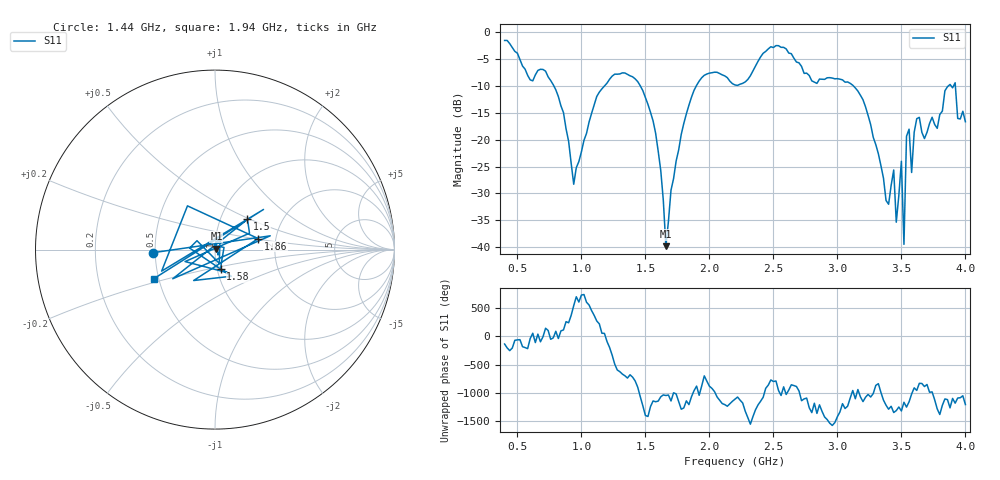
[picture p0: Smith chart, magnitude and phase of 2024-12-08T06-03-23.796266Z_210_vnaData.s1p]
!Created with skrf (http://scikit-rf.org).
# Hz S RI R 50.0
!freq ReS11 ImS11
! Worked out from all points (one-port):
!   181 points, 400 MHz to 4 GHz, reference 50 ohm
!   lowest |S11| = -39.8 dB at 1.66 GHz (marker M1), VSWR 1.02, Z = 50.8 + j0.613 ohm
!   |S11| at or under -10 dB: 784.8 MHz to 1.181 GHz (396 MHz wide, 40.3 % of centre); 1.461 GHz to 1.898 GHz (436.9 MHz wide, 26 % of centre); 3.125 GHz to 3.867 GHz (741.2 MHz wide, 21.2 % of centre) (the widest 3 of 5)
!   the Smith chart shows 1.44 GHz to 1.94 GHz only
!   S11 on the Smith chart (normalised r, x): 1.44 GHz: 0.49, -0.02; 1.5 GHz: 1.34, +0.48; 1.58 GHz: 1.04, -0.23; 1.86 GHz: 1.62, +0.21; 1.94 GHz: 0.47, -0.18
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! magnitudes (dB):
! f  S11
! 400 MHz  -1.5
! 860 MHz  -15.0
! 940 MHz  -28.3
! 1.12 GHz  -12.0
! 1.3 GHz  -7.8
! 1.44 GHz  -9.2
! 1.5 GHz  -12.1
! 1.58 GHz  -18.8
! 1.66 GHz  -39.8
! 1.76 GHz  -21.9
! 1.86 GHz  -12.1
! 1.94 GHz  -8.5
! 2.2 GHz  -9.8
! 2.66 GHz  -4.8
! 3.1 GHz  -9.5
! 3.22 GHz  -13.9
! 3.38 GHz  -31.3
! 3.44 GHz  -25.6
! 3.46 GHz  -35.4
! 3.5 GHz  -24.0
! 3.52 GHz  -39.5
! 3.54 GHz  -19.4
! 3.56 GHz  -18.0
! 3.58 GHz  -26.1
! 3.62 GHz  -16.1
! 3.78 GHz  -17.9
! 3.86 GHz  -10.1
! 4 GHz  -16.7
